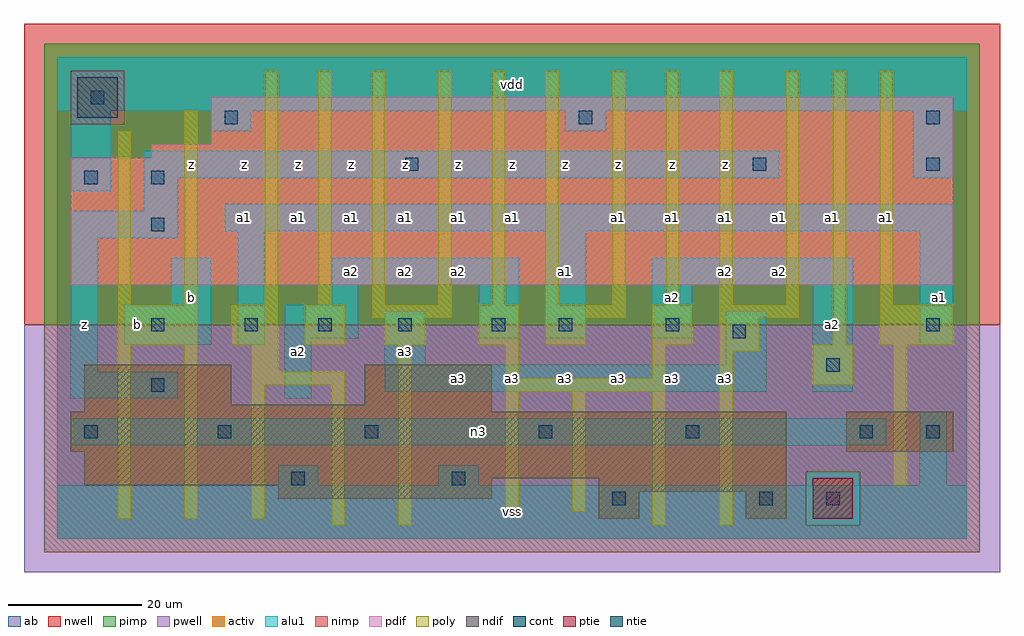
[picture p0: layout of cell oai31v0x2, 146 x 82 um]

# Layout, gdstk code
import gdstk
lib = gdstk.Library(unit=1e-6, precision=1e-09)
def R(c, l, rs):  # rectangles x0, y0, x1, y1
    for r in rs: c.add(gdstk.rectangle(r[:2], r[2:], *l))
def A(c, l, x, y, w, h, nx, ny, dx, dy):  # array of equal rectangles
    R(c, l, [(x+i*dx, y+j*dy, x+i*dx+w, y+j*dy+h) for i in range(nx) for j in range(ny)])
ndif = (3, 0)
pdif = (4, 0)
ntie = (5, 0)
ptie = (6, 0)
cont = (25, 0)
pwell = (41, 0)
nwell = (42, 0)
activ = (43, 0)
pimp = (44, 0)
nimp = (45, 0)
poly = (46, 0)
alu1 = (49, 0)
ab = (63, 0)

oai31v0x2 = lib.new_cell('oai31v0x2')
R(oai31v0x2, ndif, [(81,3,87,7), (103,3,109,7), (33,6,65,8), (81,7,109,9), (4,8,65,9), (4,9,109,13), (2,13,109,19), (118,13,134,19), (4,19,65,20), (4,20,26,26), (46,20,65,26)])
R(oai31v0x2, pdif, [(2,38,134,57), (14,57,134,59), (23,59,134,66)])
R(oai31v0x2, ntie, [(3,63,9,69)])
R(oai31v0x2, ptie, [(113,3,119,9)])
R(oai31v0x2, cont, [(83,5,85,7), (105,5,107,7), (115,5,117,7), (35,8,37,10), (59,8,61,10), (4,15,6,17), (24,15,26,17), (46,15,48,17), (72,15,74,17), (94,15,96,17), (120,15,122,17), (130,15,132,17), (14,22,16,24), (115,25,117,27), (101,30,103,32), (14,31,16,33), (28,31,30,33), (39,31,41,33), (51,31,53,33), (65,31,67,33), (75,31,77,33), (91,31,93,33), (130,31,132,33), (14,46,16,48), (4,53,6,55), (14,53,16,55), (52,55,54,57), (104,55,106,57), (130,55,132,57), (25,62,27,64), (78,62,80,64), (130,62,132,64), (5,65,7,67)])
R(oai31v0x2, pwell, [(-5,-5,141,32)])
R(oai31v0x2, nwell, [(-5,32,141,77)])
R(oai31v0x2, activ, [(81,3,87,7), (103,3,109,7), (113,3,119,9), (33,6,65,8), (81,7,109,9), (4,8,65,9), (4,9,109,13), (2,13,109,19), (118,13,134,19), (4,19,65,20), (4,20,26,26), (46,20,65,26), (2,38,134,57), (14,57,134,59), (23,59,134,66), (3,63,9,69)])
R(oai31v0x2, pimp, [(112,2,120,10), (-2,32,138,62), (-2,62,2,70), (10,62,138,70), (-2,70,138,74)])
R(oai31v0x2, nimp, [(-2,-2,138,2), (-2,2,112,10), (120,2,138,10), (-2,10,138,32), (2,62,10,70)])
A(oai31v0x2, poly, 37, 29, 6, 6, 3, 1, 26, 0)
A(oai31v0x2, poly, 47, 33, 12, 2, 3, 1, 26, 0)
A(oai31v0x2, poly, 31, 35, 2, 35, 3, 1, 8, 0)
A(oai31v0x2, poly, 57, 35, 2, 35, 3, 1, 8, 0)
A(oai31v0x2, poly, 83, 35, 2, 35, 3, 1, 8, 0)
R(oai31v0x2, poly, [(41,2,43,23), (51,2,53,29), (89,2,91,22), (99,2,101,28), (9,3,11,29), (19,3,21,29), (29,3,31,23), (67,4,69,22), (77,4,79,22), (125,8,127,29), (67,22,91,24), (29,23,43,25), (113,23,119,29), (67,24,69,29), (89,24,91,29), (29,25,33,29), (99,28,105,33), (9,29,21,35), (26,29,33,35), (49,29,55,33), (73,29,79,33), (116,29,118,70), (123,29,134,35), (9,35,11,61), (19,35,21,64), (109,35,111,70), (123,35,125,70)])
R(oai31v0x2, alu1, [(0,0,136,8), (33,8,39,11), (57,8,63,11), (129,8,133,19), (2,14,124,18), (2,21,18,25), (34,21,38,30), (49,22,106,26), (113,22,119,38), (2,25,6,45), (49,26,55,34), (100,26,106,34), (10,29,23,35), (27,29,31,46), (129,29,134,46), (34,30,45,35), (63,30,69,38), (73,30,79,46), (89,30,95,38), (17,35,23,42), (41,35,45,38), (41,38,69,42), (89,38,119,42), (2,45,18,49), (25,46,134,50), (13,49,18,54), (2,52,8,64), (13,54,108,58), (128,54,134,64), (23,61,29,64), (76,61,82,64), (0,64,136,72)])
R(oai31v0x2, ab, [(0,0,136,72)])
oai31v0x2.add(gdstk.Label('n3', (63,16), layer=49, texttype=0))
oai31v0x2.add(gdstk.Label('b', (12,32), layer=49, texttype=0))
oai31v0x2.add(gdstk.Label('z', (4,32), layer=49, texttype=0))
oai31v0x2.add(gdstk.Label('b', (20,36), layer=49, texttype=0))
oai31v0x2.add(gdstk.Label('z', (20,56), layer=49, texttype=0))
oai31v0x2.add(gdstk.Label('a2', (36,28), layer=49, texttype=0))
oai31v0x2.add(gdstk.Label('a2', (44,40), layer=49, texttype=0))
oai31v0x2.add(gdstk.Label('a1', (28,48), layer=49, texttype=0))
oai31v0x2.add(gdstk.Label('a1', (36,48), layer=49, texttype=0))
oai31v0x2.add(gdstk.Label('a1', (44,48), layer=49, texttype=0))
oai31v0x2.add(gdstk.Label('z', (36,56), layer=49, texttype=0))
oai31v0x2.add(gdstk.Label('z', (44,56), layer=49, texttype=0))
oai31v0x2.add(gdstk.Label('z', (28,56), layer=49, texttype=0))
oai31v0x2.add(gdstk.Label('vss', (68,4), layer=49, texttype=0))
oai31v0x2.add(gdstk.Label('a3', (60,24), layer=49, texttype=0))
oai31v0x2.add(gdstk.Label('a3', (68,24), layer=49, texttype=0))
oai31v0x2.add(gdstk.Label('a3', (76,24), layer=49, texttype=0))
oai31v0x2.add(gdstk.Label('a3', (52,28), layer=49, texttype=0))
oai31v0x2.add(gdstk.Label('a2', (52,40), layer=49, texttype=0))
oai31v0x2.add(gdstk.Label('a1', (76,40), layer=49, texttype=0))
oai31v0x2.add(gdstk.Label('a2', (60,40), layer=49, texttype=0))
oai31v0x2.add(gdstk.Label('a1', (52,48), layer=49, texttype=0))
oai31v0x2.add(gdstk.Label('a1', (60,48), layer=49, texttype=0))
oai31v0x2.add(gdstk.Label('a1', (68,48), layer=49, texttype=0))
oai31v0x2.add(gdstk.Label('z', (60,56), layer=49, texttype=0))
oai31v0x2.add(gdstk.Label('z', (68,56), layer=49, texttype=0))
oai31v0x2.add(gdstk.Label('z', (76,56), layer=49, texttype=0))
oai31v0x2.add(gdstk.Label('z', (52,56), layer=49, texttype=0))
oai31v0x2.add(gdstk.Label('vdd', (68,68), layer=49, texttype=0))
oai31v0x2.add(gdstk.Label('a3', (84,24), layer=49, texttype=0))
oai31v0x2.add(gdstk.Label('a3', (100,24), layer=49, texttype=0))
oai31v0x2.add(gdstk.Label('a3', (92,24), layer=49, texttype=0))
oai31v0x2.add(gdstk.Label('a2', (100,40), layer=49, texttype=0))
oai31v0x2.add(gdstk.Label('a2', (108,40), layer=49, texttype=0))
oai31v0x2.add(gdstk.Label('a2', (92,36), layer=49, texttype=0))
oai31v0x2.add(gdstk.Label('a1', (84,48), layer=49, texttype=0))
oai31v0x2.add(gdstk.Label('a1', (100,48), layer=49, texttype=0))
oai31v0x2.add(gdstk.Label('a1', (108,48), layer=49, texttype=0))
oai31v0x2.add(gdstk.Label('a1', (92,48), layer=49, texttype=0))
oai31v0x2.add(gdstk.Label('z', (100,56), layer=49, texttype=0))
oai31v0x2.add(gdstk.Label('z', (92,56), layer=49, texttype=0))
oai31v0x2.add(gdstk.Label('z', (84,56), layer=49, texttype=0))
oai31v0x2.add(gdstk.Label('a2', (116,32), layer=49, texttype=0))
oai31v0x2.add(gdstk.Label('a1', (132,36), layer=49, texttype=0))
oai31v0x2.add(gdstk.Label('a1', (116,48), layer=49, texttype=0))
oai31v0x2.add(gdstk.Label('a1', (124,48), layer=49, texttype=0))

lib.write_gds('oai31v0x2.gds')
